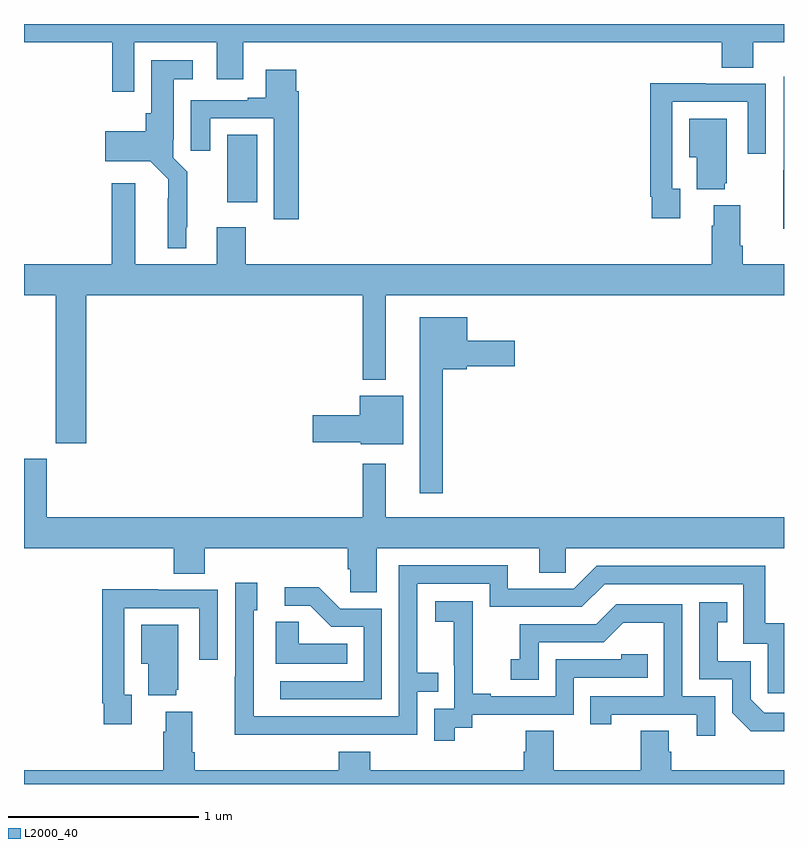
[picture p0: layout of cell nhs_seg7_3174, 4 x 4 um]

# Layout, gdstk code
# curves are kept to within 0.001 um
import gdstk
lib = gdstk.Library(unit=1e-6, precision=1e-09)
def R(c, l, rs):  # rectangles x0, y0, x1, y1
    for r in rs: c.add(gdstk.rectangle(r[:2], r[2:], *l))
def P(c, l, *ps):  # polygons
    for p in ps: c.add(gdstk.Polygon(p, *l))
L2000_40 = (2000, 40)

nhs_seg7_3174 = lib.new_cell('nhs_seg7_3174')
R(nhs_seg7_3174, L2000_40, [(314.069,1045.062,314.227,1045.418)])
P(nhs_seg7_3174, L2000_40, [(313.581,1045.904),(314.015,1045.904),(314.015,1045.71),(314.155,1045.71),(314.155,1045.904),(316.673,1045.904),(316.673,1045.771),(316.838,1045.771),(316.838,1045.904),(317,1045.904),(317,1046),(313,1046),(313,1045.904),(313.465,1045.904),(313.465,1045.644),(313.581,1045.644)],
  [(313.855,1044.931),(313.858,1044.931),(313.858,1045.223),(313.785,1045.296),(313.785,1045.39),(313.789,1045.39),(313.789,1045.709),(313.888,1045.709),(313.888,1045.81),(313.67,1045.81),(313.67,1045.53),(313.64,1045.53),(313.64,1045.435),(313.428,1045.435),(313.428,1045.277),(313.665,1045.277),(313.758,1045.184),(313.757,1044.821),(313.855,1044.821)],
  [(314.447,1045.646),(314.434,1045.646),(314.434,1045.759),(314.273,1045.759),(314.273,1045.612),(314.177,1045.612),(314.177,1045.599),(313.877,1045.599),(313.877,1045.332),(313.981,1045.332),(313.981,1045.503),(314.315,1045.503),(314.315,1044.972),(314.447,1044.972)],
  [(317,1045.723),(316.998,1045.723),(316.998,1045.229),(316.996,1045.229),(316.996,1044.923),(317,1044.923)],
  [(316.453,1045.134),(316.413,1045.134),(316.413,1045.59),(316.809,1045.59),(316.809,1045.317),(316.905,1045.317),(316.905,1045.686),(316.589,1045.686),(316.589,1045.688),(316.297,1045.688),(316.297,1045.09),(316.305,1045.09),(316.305,1044.978),(316.453,1044.978)],
  [(316.688,1045.161),(316.699,1045.161),(316.699,1045.501),(316.502,1045.501),(316.502,1045.298),(316.541,1045.298),(316.541,1045.13),(316.688,1045.13)],
  [(313.328,1044.572),(314.784,1044.572),(314.784,1044.128),(314.905,1044.128),(314.905,1044.572),(317,1044.572),(317,1044.736),(316.784,1044.736),(316.784,1044.832),(316.771,1044.832),(316.771,1045.045),(316.631,1045.045),(316.631,1044.938),(316.619,1044.938),(316.619,1044.736),(314.168,1044.736),(314.168,1044.93),(314.015,1044.93),(314.015,1044.736),(313.585,1044.736),(313.585,1045.162),(313.463,1045.162),(313.463,1044.736),(313,1044.736),(313,1044.572),(313.168,1044.572),(313.168,1043.793),(313.328,1043.793)],
  [(315.205,1044.182),(315.33,1044.182),(315.33,1044.2),(315.583,1044.2),(315.583,1044.334),(315.334,1044.334),(315.334,1044.457),(315.083,1044.457),(315.083,1043.529),(315.205,1043.529)],
  [(314.995,1044.043),(314.768,1044.043),(314.768,1043.942),(314.52,1043.942),(314.52,1043.8),(314.772,1043.8),(314.772,1043.789),(314.995,1043.789)],
  [(314.857,1043.24),(315.713,1043.24),(315.713,1043.113),(315.852,1043.113),(315.852,1043.24),(317,1043.24),(317,1043.404),(314.905,1043.404),(314.905,1043.686),(314.784,1043.686),(314.784,1043.404),(313.12,1043.404),(313.12,1043.713),(313,1043.713),(313,1043.24),(313.787,1043.24),(313.787,1043.107),(313.952,1043.107),(313.952,1043.24),(314.705,1043.24),(314.705,1043.131),(314.718,1043.131),(314.718,1043.008),(314.857,1043.008)],
  [(314.573,1042.26),(315.069,1042.26),(315.069,1042.485),(315.179,1042.485),(315.179,1042.586),(315.069,1042.586),(315.069,1043.055),(315.45,1043.055),(315.45,1042.932),(315.936,1042.932),(316.056,1043.052),(316.785,1043.052),(316.785,1042.737),(316.914,1042.737),(316.914,1042.478),(317,1042.478),(317,1042.846),(316.901,1042.846),(316.901,1043.148),(316.014,1043.148),(315.894,1043.028),(315.547,1043.028),(315.547,1043.151),(314.973,1043.151),(314.973,1042.356),(314.208,1042.356),(314.208,1042.914),(314.227,1042.914),(314.227,1043.059),(314.112,1043.059),(314.112,1042.565),(314.11,1042.565),(314.11,1042.259)],
  [(314.883,1042.923),(314.664,1042.923),(314.551,1043.036),(314.373,1043.036),(314.373,1042.938),(314.507,1042.938),(314.618,1042.827),(314.787,1042.827),(314.787,1042.542),(314.349,1042.542),(314.349,1042.446),(314.883,1042.446)],
  [(313.567,1042.47),(313.527,1042.47),(313.527,1042.926),(313.923,1042.926),(313.923,1042.653),(314.019,1042.653),(314.019,1043.022),(313.703,1043.022),(313.703,1043.024),(313.411,1043.024),(313.411,1042.426),(313.419,1042.426),(313.419,1042.314),(313.567,1042.314)],
  [(315.268,1042.297),(315.36,1042.297),(315.36,1042.365),(315.894,1042.365),(315.894,1042.56),(316.283,1042.56),(316.283,1042.683),(316.143,1042.683),(316.143,1042.656),(315.798,1042.656),(315.798,1042.461),(315.457,1042.461),(315.457,1042.474),(315.362,1042.474),(315.362,1042.757),(315.363,1042.757),(315.363,1042.963),(315.165,1042.963),(315.165,1042.853),(315.263,1042.853),(315.263,1042.625),(315.264,1042.625),(315.264,1042.395),(315.159,1042.395),(315.159,1042.227),(315.268,1042.227)],
  [(317,1042.374),(316.896,1042.374),(316.824,1042.446),(316.824,1042.647),(316.651,1042.647),(316.651,1042.851),(316.7,1042.851),(316.7,1042.957),(316.554,1042.957),(316.554,1042.551),(316.728,1042.551),(316.728,1042.374),(316.826,1042.277),(317,1042.277)],
  [(316.638,1042.461),(316.464,1042.461),(316.464,1042.947),(316.118,1042.947),(316.013,1042.842),(315.61,1042.842),(315.61,1042.657),(315.561,1042.657),(315.561,1042.548),(315.708,1042.548),(315.708,1042.746),(316.05,1042.746),(316.154,1042.85),(316.368,1042.85),(316.368,1042.461),(315.979,1042.461),(315.979,1042.314),(316.09,1042.314),(316.09,1042.365),(316.541,1042.365),(316.541,1042.254),(316.638,1042.254)],
  [(314.702,1042.738),(314.445,1042.738),(314.445,1042.853),(314.324,1042.853),(314.324,1042.634),(314.702,1042.634)],
  [(313.802,1042.497),(313.813,1042.497),(313.813,1042.837),(313.616,1042.837),(313.616,1042.634),(313.655,1042.634),(313.655,1042.466),(313.802,1042.466)],
  [(317,1042.072),(316.406,1042.072),(316.406,1042.17),(316.393,1042.17),(316.393,1042.28),(316.246,1042.28),(316.246,1042.072),(315.789,1042.072),(315.789,1042.28),(315.641,1042.28),(315.641,1042.17),(315.629,1042.17),(315.629,1042.072),(314.822,1042.072),(314.822,1042.171),(314.657,1042.171),(314.657,1042.072),(313.898,1042.072),(313.898,1042.168),(313.885,1042.168),(313.885,1042.381),(313.745,1042.381),(313.745,1042.274),(313.733,1042.274),(313.733,1042.072),(313,1042.072),(313,1042),(317,1042)])

lib.write_gds('nhs_seg7_3174.gds')
